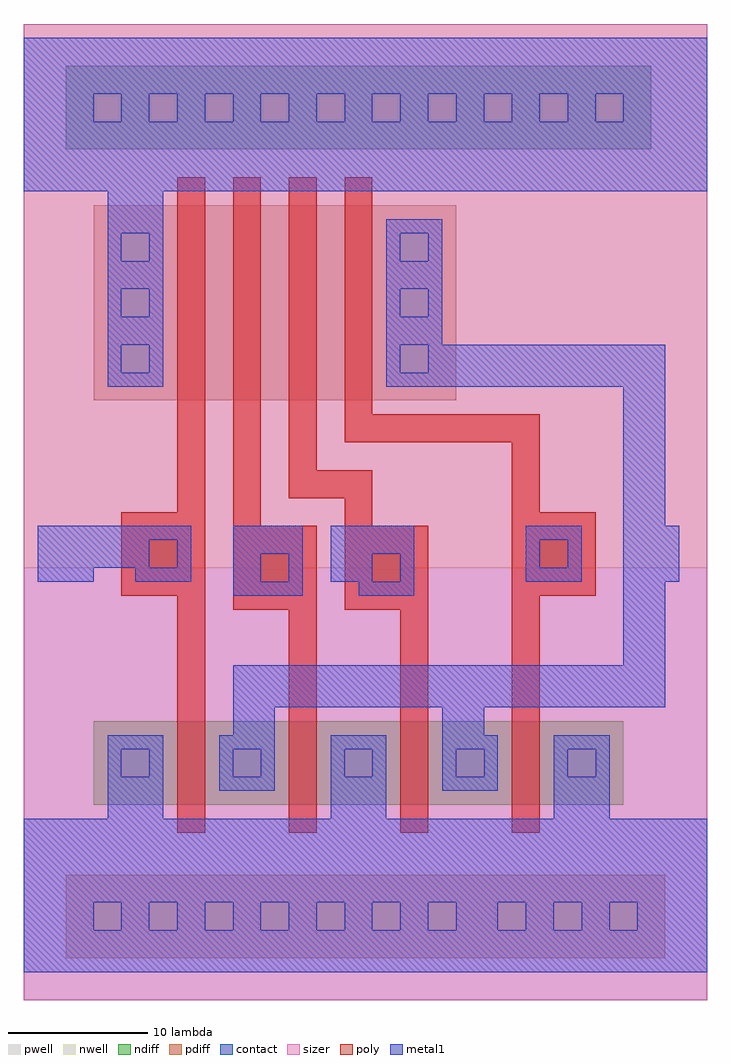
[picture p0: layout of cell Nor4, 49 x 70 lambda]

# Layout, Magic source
magic
tech LibreSilicon-test000-concept-mg-70-7
<< sizer >>
rect 0 0 49 70
<< metal1 >>
rect 0 65 49 69
rect 0 63 5 65
rect 7 63 9 65
rect 11 63 13 65
rect 15 63 17 65
rect 19 63 21 65
rect 23 63 25 65
rect 27 63 29 65
rect 31 63 33 65
rect 35 63 37 65
rect 39 63 41 65
rect 43 63 49 65
rect 0 58 49 63
rect 6 55 10 58
rect 26 55 30 56
rect 6 53 7 55
rect 9 53 10 55
rect 26 53 27 55
rect 29 53 30 55
rect 6 51 10 53
rect 26 51 30 53
rect 6 49 7 51
rect 9 49 10 51
rect 26 49 27 51
rect 29 49 30 51
rect 6 47 10 49
rect 26 47 30 49
rect 6 45 7 47
rect 9 45 10 47
rect 26 45 27 47
rect 29 45 46 47
rect 6 44 10 45
rect 26 44 46 45
rect 43 34 46 44
rect 1 33 12 34
rect 15 32 20 34
rect 22 32 28 34
rect 36 33 40 34
rect 43 30 47 34
rect 1 31 9 33
rect 11 31 12 33
rect 36 31 37 33
rect 39 31 40 33
rect 15 30 17 32
rect 19 30 20 32
rect 22 30 25 32
rect 27 30 28 32
rect 1 30 5 31
rect 8 30 12 31
rect 36 30 40 31
rect 15 29 20 30
rect 24 29 28 30
rect 43 24 46 30
rect 15 21 46 24
rect 15 19 18 21
rect 30 19 33 21
rect 6 18 10 19
rect 14 18 18 19
rect 22 18 26 19
rect 30 18 34 19
rect 38 18 42 19
rect 6 16 7 18
rect 9 16 10 18
rect 14 16 15 18
rect 17 16 18 18
rect 22 16 23 18
rect 25 16 26 18
rect 30 16 31 18
rect 33 16 34 18
rect 38 16 39 18
rect 41 16 42 18
rect 6 13 10 16
rect 14 15 18 16
rect 22 13 26 16
rect 30 15 34 16
rect 38 13 42 16
rect 0 7 49 13
rect 0 5 5 7
rect 7 5 9 7
rect 11 5 13 7
rect 15 5 17 7
rect 19 5 21 7
rect 23 5 25 7
rect 27 5 29 7
rect 31 5 34 7
rect 36 5 38 7
rect 40 5 42 7
rect 44 5 49 7
rect 0 2 49 5
<< contact >>
rect 5 63 7 65
rect 9 63 11 65
rect 13 63 15 65
rect 17 63 19 65
rect 21 63 23 65
rect 25 63 27 65
rect 29 63 31 65
rect 33 63 35 65
rect 37 63 39 65
rect 41 63 43 65
rect 7 53 9 55
rect 27 53 29 55
rect 7 49 9 51
rect 27 49 29 51
rect 7 45 9 47
rect 27 45 29 47
rect 9 31 11 33
rect 37 31 39 33
rect 17 30 19 32
rect 25 30 27 32
rect 7 16 9 18
rect 15 16 17 18
rect 23 16 25 18
rect 31 16 33 18
rect 39 16 41 18
rect 5 5 7 7
rect 9 5 11 7
rect 13 5 15 7
rect 17 5 19 7
rect 21 5 23 7
rect 25 5 27 7
rect 29 5 31 7
rect 34 5 36 7
rect 38 5 40 7
rect 42 5 44 7
<< poly >>
rect 11 35 13 59
rect 15 34 17 59
rect 19 38 21 59
rect 23 42 25 59
rect 23 40 37 42
rect 35 35 37 40
rect 19 36 25 38
rect 23 34 25 36
rect 7 29 13 35
rect 35 29 41 35
rect 15 28 21 34
rect 23 28 29 34
rect 11 12 13 29
rect 35 12 37 29
rect 19 12 21 28
rect 27 12 29 28
<< ndiff >>
rect 3 61 45 67
rect 5 14 43 20
<< pdiff >>
rect 5 43 31 57
rect 3 3 46 9
<< nwell >>
rect 0 31 49 70
<< pwell >>
rect 0 0 49 31
<< end >>
